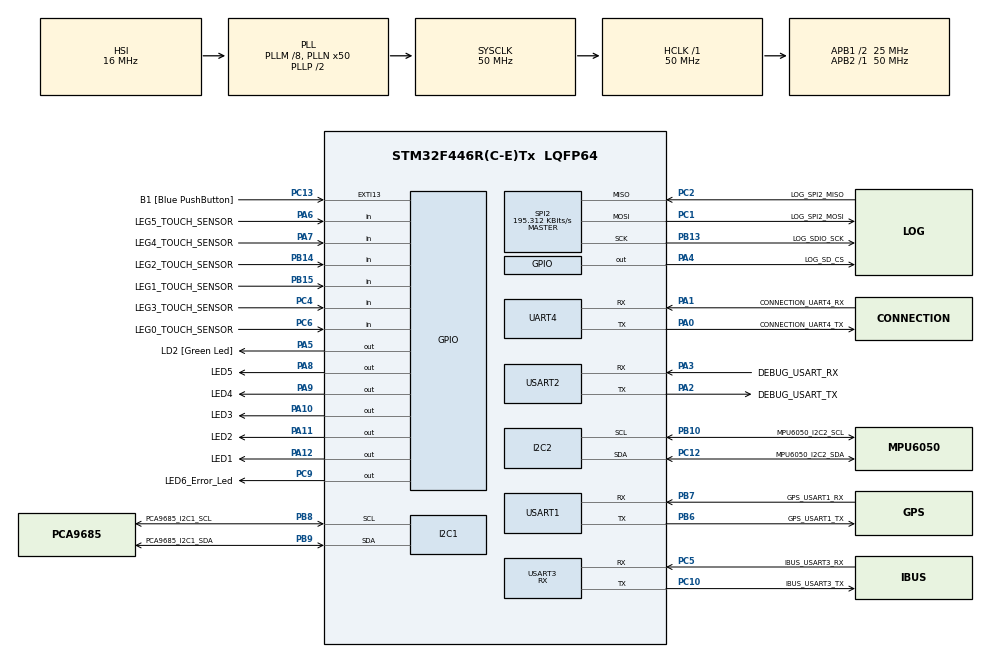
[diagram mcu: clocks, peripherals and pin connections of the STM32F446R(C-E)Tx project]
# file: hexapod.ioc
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Dma.Request0=USART3_RX
Dma.Request1=UART4_TX
Dma.Request2=USART1_RX
Dma.UART4_TX.1.Direction=DMA_MEMORY_TO_PERIPH
Dma.UART4_TX.1.FIFOMode=DMA_FIFOMODE_DISABLE
Dma.UART4_TX.1.Instance=DMA1_Stream4
Dma.UART4_TX.1.MemDataAlignment=DMA_MDATAALIGN_BYTE
Dma.UART4_TX.1.MemInc=DMA_MINC_ENABLE
Dma.UART4_TX.1.Mode=DMA_NORMAL
Dma.UART4_TX.1.PeriphDataAlignment=DMA_PDATAALIGN_BYTE
Dma.UART4_TX.1.PeriphInc=DMA_PINC_DISABLE
Dma.UART4_TX.1.Priority=DMA_PRIORITY_MEDIUM
Dma.USART1_RX.2.Direction=DMA_PERIPH_TO_MEMORY
Dma.USART1_RX.2.FIFOMode=DMA_FIFOMODE_DISABLE
Dma.USART1_RX.2.Instance=DMA2_Stream2
Dma.USART1_RX.2.MemDataAlignment=DMA_MDATAALIGN_BYTE
Dma.USART1_RX.2.MemInc=DMA_MINC_ENABLE
Dma.USART1_RX.2.Mode=DMA_CIRCULAR
Dma.USART1_RX.2.PeriphDataAlignment=DMA_PDATAALIGN_BYTE
Dma.USART1_RX.2.PeriphInc=DMA_PINC_DISABLE
Dma.USART1_RX.2.Priority=DMA_PRIORITY_MEDIUM
Dma.USART3_RX.0.Direction=DMA_PERIPH_TO_MEMORY
Dma.USART3_RX.0.FIFOMode=DMA_FIFOMODE_DISABLE
Dma.USART3_RX.0.Instance=DMA1_Stream1
Dma.USART3_RX.0.MemDataAlignment=DMA_MDATAALIGN_BYTE
Dma.USART3_RX.0.MemInc=DMA_MINC_ENABLE
Dma.USART3_RX.0.Mode=DMA_CIRCULAR
Dma.USART3_RX.0.PeriphDataAlignment=DMA_PDATAALIGN_BYTE
Dma.USART3_RX.0.PeriphInc=DMA_PINC_DISABLE
Dma.USART3_RX.0.Priority=DMA_PRIORITY_MEDIUM
FATFS._USE_MUTEX=1
FREERTOS.Mutexes01=uartMutex,Dynamic,NULL,Available
FREERTOS.Tasks01=defaultTask,24,128,StartDefaultTask,Default,NULL,Dynamic,NULL,NULL;IBusTask,24,128,StartIBusTask,Default,NULL,Dynamic,NULL,NULL;ServoTask,24,128,StartServoTask,Default,NULL,Dynamic,NULL,NULL;IMUTask,24,128,StartIMUTask,Default,NULL,Dynamic,NULL,NULL;LEDBlinkTask,8,128,StartLEDBlinkTask,Default,NULL,Dynamic,NULL,NULL;SDLogTask,24,256,StartSDLogTask,Default,NULL,Dynamic,NULL,NULL;debugPrintTask,16,1024,StartDebugPrintTask,Default,NULL,Dynamic,NULL,NULL;GPSTask,24,128,StartGPSTask,Default,NULL,Dynamic,NULL,NULL;Interface,24,128,StartInterface,Default,NULL,Dynamic,NULL,NULL;TouchSensor,24,128,StartTouchSensor,Default,NULL,Dynamic,NULL,NULL;WatchDogTask,8,128,StartWatchDogTask,Default,NULL,Dynamic,NULL,NULL
FREERTOS.configCHECK_FOR_STACK_OVERFLOW=2
FREERTOS.configENABLE_FPU=1
FREERTOS.configUSE_MALLOC_FAILED_HOOK=1
FREERTOS.configUSE_NEWLIB_REENTRANT=1
IWDG.Prescaler=IWDG_PRESCALER_32
IWDG.Reload=2047
Mcu.Family=STM32F4
Mcu.Name=STM32F446R(C-E)Tx
Mcu.Package=LQFP64
NVIC.DMA1_Stream1_IRQn=true\:5\:0\:false\:false\:true\:true\:false\:true\:true
NVIC.DMA1_Stream4_IRQn=true\:5\:0\:false\:false\:true\:true\:false\:true\:true
NVIC.DMA2_Stream2_IRQn=true\:5\:0\:false\:false\:true\:true\:false\:true\:true
NVIC.PriorityGroup=NVIC_PRIORITYGROUP_4
NVIC.TIM6_DAC_IRQn=true\:15\:0\:false\:false\:true\:false\:false\:true\:true
NVIC.TimeBase=TIM6_DAC_IRQn
NVIC.TimeBaseIP=TIM6
NVIC.UART4_IRQn=true\:5\:0\:false\:false\:true\:true\:true\:true\:true
NVIC.USART1_IRQn=true\:5\:0\:false\:false\:true\:true\:true\:true\:true
NVIC.USART3_IRQn=true\:5\:0\:false\:false\:true\:true\:true\:true\:true
PA0-WKUP.GPIO_Label=CONNECTION_UART4_TX
PA0-WKUP.Mode=Asynchronous
PA0-WKUP.Signal=UART4_TX
PA1.GPIO_Label=CONNECTION_UART4_RX
PA1.Mode=Asynchronous
PA1.Signal=UART4_RX
PA10.GPIO_Label=LED3
PA10.Signal=GPIO_Output
PA11.GPIO_Label=LED2
PA11.Signal=GPIO_Output
PA12.GPIO_Label=LED1
PA12.Signal=GPIO_Output
PA13.GPIO_Label=TMS
PA13.Mode=Serial_Wire
PA13.Signal=SYS_JTMS-SWDIO
PA14.GPIO_Label=TCK
PA14.Mode=Serial_Wire
PA14.Signal=SYS_JTCK-SWCLK
PA2.GPIO_Label=DEBUG_USART_TX
PA2.Mode=Asynchronous
PA2.Signal=USART2_TX
PA3.GPIO_Label=DEBUG_USART_RX
PA3.Mode=Asynchronous
PA3.Signal=USART2_RX
PA4.GPIO_Label=LOG_SD_CS
PA4.Signal=GPIO_Output
PA5.GPIO_Label=LD2 [Green Led]
PA5.Signal=GPIO_Output
PA6.GPIO_Label=LEG5_TOUCH_SENSOR
PA6.Signal=GPIO_Input
PA7.GPIO_Label=LEG4_TOUCH_SENSOR
PA7.Signal=GPIO_Input
PA8.GPIO_Label=LED5
PA8.Signal=GPIO_Output
PA9.GPIO_Label=LED4
PA9.Signal=GPIO_Output
PB10.GPIO_Label=MPU6050_I2C2_SCL
PB10.Mode=I2C
PB10.Signal=I2C2_SCL
PB13.GPIO_Label=LOG_SDIO_SCK
PB13.Mode=Full_Duplex_Master
PB13.Signal=SPI2_SCK
PB14.GPIO_Label=LEG2_TOUCH_SENSOR
PB14.Signal=GPIO_Input
PB15.GPIO_Label=LEG1_TOUCH_SENSOR
PB15.Signal=GPIO_Input
PB3.GPIO_Label=SWO
PB3.Signal=SYS_JTDO-SWO
PB6.GPIO_Label=GPS_USART1_TX
PB6.Mode=Asynchronous
PB6.Signal=USART1_TX
PB7.GPIO_Label=GPS_USART1_RX
PB7.Mode=Asynchronous
PB7.Signal=USART1_RX
PB8.GPIO_Label=PCA9685_I2C1_SCL
PB8.Mode=I2C
PB8.Signal=I2C1_SCL
PB9.GPIO_Label=PCA9685_I2C1_SDA
PB9.Mode=I2C
PB9.Signal=I2C1_SDA
PC1.GPIO_Label=LOG_SPI2_MOSI
PC1.Mode=Full_Duplex_Master
PC1.Signal=SPI2_MOSI
PC10.GPIO_Label=IBUS_USART3_TX
PC10.Mode=Asynchronous
PC10.Signal=USART3_TX
PC12.GPIO_Label=MPU6050_I2C2_SDA
PC12.Mode=I2C
PC12.Signal=I2C2_SDA
PC13.GPIO_Label=B1 [Blue PushButton]
PC13.GPIO_ModeDefaultEXTI=GPIO_MODE_IT_FALLING
PC13.Signal=GPXTI13
PC14-OSC32_IN.Mode=LSE-External-Oscillator
PC14-OSC32_IN.Signal=RCC_OSC32_IN
PC15-OSC32_OUT.Mode=LSE-External-Oscillator
PC15-OSC32_OUT.Signal=RCC_OSC32_OUT
PC2.GPIO_Label=LOG_SPI2_MISO
PC2.Mode=Full_Duplex_Master
PC2.Signal=SPI2_MISO
PC4.GPIO_Label=LEG3_TOUCH_SENSOR
PC4.Signal=GPIO_Input
PC5.GPIO_Label=IBUS_USART3_RX
PC5.Mode=Asynchronous
PC5.Signal=USART3_RX
PC6.GPIO_Label=LEG0_TOUCH_SENSOR
PC6.Signal=GPIO_Input
PC9.GPIO_Label=LED6_Error_Led
PC9.Signal=GPIO_Output
PH0-OSC_IN.Mode=HSE-External-Oscillator
PH0-OSC_IN.Signal=RCC_OSC_IN
PH1-OSC_OUT.Mode=HSE-External-Oscillator
PH1-OSC_OUT.Signal=RCC_OSC_OUT
ProjectManager.HeapSize=0x200
ProjectManager.StackSize=0x400
ProjectManager.TargetToolchain=STM32CubeIDE
RCC.48MHZClocksFreq_Value=84000000
RCC.AHBFreq_Value=50000000
RCC.APB1CLKDivider=RCC_HCLK_DIV2
RCC.APB1Freq_Value=25000000
RCC.APB1TimFreq_Value=50000000
RCC.APB2Freq_Value=50000000
RCC.APB2TimFreq_Value=50000000
RCC.CortexFreq_Value=50000000
RCC.FLatency-AdvancedSettings=FLASH_LATENCY_1
RCC.HCLKFreq_Value=50000000
RCC.HSE_VALUE=8000000
RCC.HSI_VALUE=16000000
RCC.PLLM=8
RCC.PLLN=50
RCC.PLLQ=3
RCC.SYSCLKFreq_VALUE=50000000
RCC.SYSCLKSource=RCC_SYSCLKSOURCE_PLLCLK
RCC.USBFreq_Value=33333333.333333332
RCC.VCOOutputFreq_Value=100000000
SPI2.BaudRatePrescaler=SPI_BAUDRATEPRESCALER_128
SPI2.CalculateBaudRate=195.312 KBits/s
SPI2.Direction=SPI_DIRECTION_2LINES
SPI2.Mode=SPI_MODE_MASTER
SPI2.VirtualType=VM_MASTER
UART4.VirtualMode=Asynchronous
USART1.VirtualMode=VM_ASYNC
USART2.VirtualMode=VM_ASYNC
USART3.Mode=MODE_RX
USART3.VirtualMode=VM_ASYNC
VP_FATFS_VS_Generic.Mode=User_defined
VP_FREERTOS_VS_CMSIS_V2.Mode=CMSIS_V2
VP_IWDG_VS_IWDG.Mode=IWDG_Activate
VP_SYS_VS_tim6.Mode=TIM6
board=NUCLEO-F446RE

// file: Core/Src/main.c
/* USER CODE BEGIN Header */
/**
  ******************************************************************************
  * @file           : main.c
  * @brief          : Main program body
  ******************************************************************************
  * @attention
  *
  * Copyright (c) 2025 STMicroelectronics.
  * All rights reserved.
  *
  * This software is licensed under terms that can be found in the LICENSE file
  * in the root directory of this software component.
  * If no LICENSE file comes with this software, it is provided AS-IS.
  *
  ******************************************************************************
  */
/* USER CODE END Header */
#include "main.h"
#include "cmsis_os.h"
#include "dma.h"
#include "fatfs.h"
#include "i2c.h"
#include "iwdg.h"
#include "spi.h"
#include "usart.h"
#include "gpio.h"

/* USER CODE BEGIN Includes */

#include "ibus.h"

/* USER CODE END Includes */

/* USER CODE BEGIN PD */

#define DEBUG_UART &huart2
/* USER CODE END PD */

/* USER CODE BEGIN PV */
extern osThreadId_t IBusTaskHandle;
extern IBUS_Handle_t ibus;
extern IBus_Data_t data;

/* USER CODE END PV */

void SystemClock_Config(void);
void MX_FREERTOS_Init(void);

/* USER CODE BEGIN 0 */
void HAL_UARTEx_RxEventCallback(UART_HandleTypeDef *huart, uint16_t Size)
{
  if(huart->Instance == USART3) {
    ibus.ready = 1;
    osThreadFlagsSet(IBusTaskHandle, 0x01);
  }
}
int __io_putchar(int ch)
{
    HAL_UART_Transmit(DEBUG_UART, (uint8_t *)&ch, 1, HAL_MAX_DELAY);
    return ch;
}
/* USER CODE END 0 */

int main(void)
{

  /* MCU Configuration--------------------------------------------------------*/

  /* Reset of all peripherals, Initializes the Flash interface and the Systick. */
  HAL_Init();

  /* Configure the system clock */
  SystemClock_Config();

  /* Initialize all configured peripherals */
  MX_GPIO_Init();
  MX_DMA_Init();
  MX_USART2_UART_Init();
  MX_I2C1_Init();
  MX_I2C2_Init();
  MX_SPI2_Init();
  MX_USART3_UART_Init();
  MX_FATFS_Init();
  MX_UART4_Init();
  MX_USART1_UART_Init();
  MX_IWDG_Init();

  /* Init scheduler */
  osKernelInitialize();  /* Call init function for freertos objects (in cmsis_os2.c) */
  MX_FREERTOS_Init();

  /* Start scheduler */
  osKernelStart();

  /* We should never get here as control is now taken by the scheduler */

  /* Infinite loop */
  while (1)
  {

  }
}

void SystemClock_Config(void)
{
  RCC_OscInitTypeDef RCC_OscInitStruct = {0};
  RCC_ClkInitTypeDef RCC_ClkInitStruct = {0};

  /** Configure the main internal regulator output voltage
  */
  __HAL_RCC_PWR_CLK_ENABLE();
  __HAL_PWR_VOLTAGESCALING_CONFIG(PWR_REGULATOR_VOLTAGE_SCALE3);

  /** Initializes the RCC Oscillators according to the specified parameters
  * in the RCC_OscInitTypeDef structure.
  */
  RCC_OscInitStruct.OscillatorType = RCC_OSCILLATORTYPE_HSI|RCC_OSCILLATORTYPE_LSI;
  RCC_OscInitStruct.HSIState = RCC_HSI_ON;
  RCC_OscInitStruct.HSICalibrationValue = RCC_HSICALIBRATION_DEFAULT;
  RCC_OscInitStruct.LSIState = RCC_LSI_ON;
  RCC_OscInitStruct.PLL.PLLState = RCC_PLL_ON;
  RCC_OscInitStruct.PLL.PLLSource = RCC_PLLSOURCE_HSI;
  RCC_OscInitStruct.PLL.PLLM = 8;
  RCC_OscInitStruct.PLL.PLLN = 50;
  RCC_OscInitStruct.PLL.PLLP = RCC_PLLP_DIV2;
  RCC_OscInitStruct.PLL.PLLQ = 3;
  RCC_OscInitStruct.PLL.PLLR = 2;
  if (HAL_RCC_OscConfig(&RCC_OscInitStruct) != HAL_OK)
  {
    Error_Handler();
  }

  /** Initializes the CPU, AHB and APB buses clocks
  */
  RCC_ClkInitStruct.ClockType = RCC_CLOCKTYPE_HCLK|RCC_CLOCKTYPE_SYSCLK
                              |RCC_CLOCKTYPE_PCLK1|RCC_CLOCKTYPE_PCLK2;
  RCC_ClkInitStruct.SYSCLKSource = RCC_SYSCLKSOURCE_PLLCLK;
  RCC_ClkInitStruct.AHBCLKDivider = RCC_SYSCLK_DIV1;
  RCC_ClkInitStruct.APB1CLKDivider = RCC_HCLK_DIV2;
  RCC_ClkInitStruct.APB2CLKDivider = RCC_HCLK_DIV1;

  if (HAL_RCC_ClockConfig(&RCC_ClkInitStruct, FLASH_LATENCY_1) != HAL_OK)
  {
    Error_Handler();
  }
}

void HAL_TIM_PeriodElapsedCallback(TIM_HandleTypeDef *htim)
{
  if (htim->Instance == TIM6)
  {
    HAL_IncTick();
  }
}

void Error_Handler(void)
{
  __disable_irq();
  while (1)
  {
  }
}

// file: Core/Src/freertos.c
/* USER CODE BEGIN Header */
/**
 ******************************************************************************
 * File Name          : freertos.c
 * Description        : Code for freertos applications
 ******************************************************************************
 * @attention
 *
 * Copyright (c) 2025 STMicroelectronics.
 * All rights reserved.
 *
 * This software is licensed under terms that can be found in the LICENSE file
 * in the root directory of this software component.
 * If no LICENSE file comes with this software, it is provided AS-IS.
 *
 ******************************************************************************
 */
/* USER CODE END Header */

#include "FreeRTOS.h"

#include "cmsis_os.h"
#include "main.h"
#include "task.h"

/* USER CODE BEGIN Includes */

#include <stdio.h>

#include "dma.h"
#include "fatfs.h"
#include "gpio.h"
#include "i2c.h"
#include "ibus.h"
#include "mpu6050.h"
#include "pca9685.h"
#include "spi.h"
#include "usart.h"

/* USER CODE END Includes */

/* USER CODE BEGIN PD */

#define DEBUG_UART &huart2
#define INCLUDE_vTaskDelete 1

/* USER CODE END PD */

/* USER CODE BEGIN Variables */

char logbuf[64];
IBUS_Handle_t ibus;
IBus_Data_t data;
MPU6050_Data_t mpu;
PCA9685_Handle_t pca;
PCA9685_Handle_t pca1;

FATFS fs;
FRESULT fr;
FIL file;
UINT bytes;

extern IWDG_HandleTypeDef hiwdg;

/* USER CODE END Variables */
/* Definitions for defaultTask */
osThreadId_t defaultTaskHandle;
const osThreadAttr_t defaultTask_attributes = {
    .name = "defaultTask",
    .stack_size = 128 * 4,
    .priority = (osPriority_t)osPriorityNormal,
};
/* Definitions for IBusTask */
osThreadId_t IBusTaskHandle;
const osThreadAttr_t IBusTask_attributes = {
    .name = "IBusTask",
    .stack_size = 128 * 4,
    .priority = (osPriority_t)osPriorityNormal,
};
/* Definitions for ServoTask */
osThreadId_t ServoTaskHandle;
const osThreadAttr_t ServoTask_attributes = {
    .name = "ServoTask",
    .stack_size = 128 * 4,
    .priority = (osPriority_t)osPriorityNormal,
};
/* Definitions for IMUTask */
osThreadId_t IMUTaskHandle;
const osThreadAttr_t IMUTask_attributes = {
    .name = "IMUTask",
    .stack_size = 128 * 4,
    .priority = (osPriority_t)osPriorityNormal,
};
/* Definitions for LEDBlinkTask */
osThreadId_t LEDBlinkTaskHandle;
const osThreadAttr_t LEDBlinkTask_attributes = {
    .name = "LEDBlinkTask",
    .stack_size = 128 * 4,
    .priority = (osPriority_t)osPriorityLow,
};
/* Definitions for SDLogTask */
osThreadId_t SDLogTaskHandle;
const osThreadAttr_t SDLogTask_attributes = {
    .name = "SDLogTask",
    .stack_size = 256 * 4,
    .priority = (osPriority_t)osPriorityNormal,
};
/* Definitions for debugPrintTask */
osThreadId_t debugPrintTaskHandle;
const osThreadAttr_t debugPrintTask_attributes = {
    .name = "debugPrintTask",
    .stack_size = 1024 * 4,
    .priority = (osPriority_t)osPriorityBelowNormal,
};
/* Definitions for GPSTask */
osThreadId_t GPSTaskHandle;
const osThreadAttr_t GPSTask_attributes = {
    .name = "GPSTask",
    .stack_size = 128 * 4,
    .priority = (osPriority_t)osPriorityNormal,
};
/* Definitions for Interface */
osThreadId_t InterfaceHandle;
const osThreadAttr_t Interface_attributes = {
    .name = "Interface",
    .stack_size = 128 * 4,
    .priority = (osPriority_t)osPriorityNormal,
};
/* Definitions for TouchSensor */
osThreadId_t TouchSensorHandle;
const osThreadAttr_t TouchSensor_attributes = {
    .name = "TouchSensor",
    .stack_size = 128 * 4,
    .priority = (osPriority_t)osPriorityNormal,
};
/* Definitions for WatchDogTask */
osThreadId_t WatchDogTaskHandle;
const osThreadAttr_t WatchDogTask_attributes = {
    .name = "WatchDogTask",
    .stack_size = 128 * 4,
    .priority = (osPriority_t)osPriorityLow,
};
/* Definitions for uartMutex */
osMutexId_t uartMutexHandle;
const osMutexAttr_t uartMutex_attributes = {.name = "uartMutex"};

void StartDefaultTask(void* argument);
void StartIBusTask(void* argument);
void StartServoTask(void* argument);
void StartIMUTask(void* argument);
void StartLEDBlinkTask(void* argument);
void StartSDLogTask(void* argument);
void StartDebugPrintTask(void* argument);
void StartGPSTask(void* argument);
void StartInterface(void* argument);
void StartTouchSensor(void* argument);
void StartWatchDogTask(void* argument);

void MX_FREERTOS_Init(void); /* (MISRA C 2004 rule 8.1) */

/* Hook prototypes */
void vApplicationStackOverflowHook(xTaskHandle xTask, signed char* pcTaskName);
void vApplicationMallocFailedHook(void);

/* USER CODE BEGIN 4 */
void vApplicationStackOverflowHook(xTaskHandle xTask, signed char* pcTaskName) {
  /* Run time stack overflow checking is performed if
  configCHECK_FOR_STACK_OVERFLOW is defined to 1 or 2. This hook function is
  called if a stack overflow is detected. */

  taskDISABLE_INTERRUPTS();
  for (;;) {
    HAL_GPIO_TogglePin(GPIOC, GPIO_PIN_9);
    osDelay(100);
  }
}
/* USER CODE END 4 */

/* USER CODE BEGIN 5 */
void vApplicationMallocFailedHook(void) {
  /* vApplicationMallocFailedHook() will only be called if
  configUSE_MALLOC_FAILED_HOOK is set to 1 in FreeRTOSConfig.h. It is a hook
  function that will get called if a call to pvPortMalloc() fails.
  pvPortMalloc() is called internally by the kernel whenever a task, queue,
  timer or semaphore is created. It is also called by various parts of the
  demo application. If heap_1.c or heap_2.c are used, then the size of the
  heap available to pvPortMalloc() is defined by configTOTAL_HEAP_SIZE in
  FreeRTOSConfig.h, and the xPortGetFreeHeapSize() API function can be used
  to query the size of free heap space that remains (although it does not
  provide information on how the remaining heap might be fragmented). */

  taskDISABLE_INTERRUPTS();
  for (;;) {
    HAL_GPIO_TogglePin(GPIOC, GPIO_PIN_9);
    osDelay(100);
  }
}
/* USER CODE END 5 */

void MX_FREERTOS_Init(void) {
  /* Create the mutex(es) */
  /* creation of uartMutex */
  uartMutexHandle = osMutexNew(&uartMutex_attributes);

  /* Create the thread(s) */
  /* creation of defaultTask */
  defaultTaskHandle =
      osThreadNew(StartDefaultTask, NULL, &defaultTask_attributes);

  /* creation of IBusTask */
  IBusTaskHandle = osThreadNew(StartIBusTask, NULL, &IBusTask_attributes);

  /* creation of ServoTask */
  ServoTaskHandle = osThreadNew(StartServoTask, NULL, &ServoTask_attributes);

  /* creation of IMUTask */
  IMUTaskHandle = osThreadNew(StartIMUTask, NULL, &IMUTask_attributes);

  /* creation of LEDBlinkTask */
  LEDBlinkTaskHandle =
      osThreadNew(StartLEDBlinkTask, NULL, &LEDBlinkTask_attributes);

  /* creation of SDLogTask */
  SDLogTaskHandle = osThreadNew(StartSDLogTask, NULL, &SDLogTask_attributes);

  /* creation of debugPrintTask */
  debugPrintTaskHandle =
      osThreadNew(StartDebugPrintTask, NULL, &debugPrintTask_attributes);

  /* creation of GPSTask */
  GPSTaskHandle = osThreadNew(StartGPSTask, NULL, &GPSTask_attributes);

  /* creation of Interface */
  InterfaceHandle = osThreadNew(StartInterface, NULL, &Interface_attributes);

  /* creation of TouchSensor */
  TouchSensorHandle =
      osThreadNew(StartTouchSensor, NULL, &TouchSensor_attributes);

  /* creation of WatchDogTask */
  WatchDogTaskHandle =
      osThreadNew(StartWatchDogTask, NULL, &WatchDogTask_attributes);

}

void StartDefaultTask(void* argument) {
  /* USER CODE BEGIN StartDefaultTask */
  /* Infinite loop */
  for (;;) {
    pca.hi2c = &hi2c1;
    pca.addr = (0x40 << 1);
    pca1.hi2c = &hi2c1;
    pca1.addr = ((0x40 + 1) << 1);
    IBUS_Init(&ibus, &huart3, &data);
    MPU6050_Init(&hi2c2);
    PCA9685_Init(&pca);
    PCA9685_Init(&pca1);
    vTaskDelete(NULL);
    osDelay(1);
  }
  /* USER CODE END StartDefaultTask */
}

void StartIBusTask(void* argument) {
  /* USER CODE BEGIN StartIBusTask */
  /* Infinite loop */
  for (;;) {
    osThreadFlagsWait(0x01, osFlagsWaitAny, osWaitForever);
    osMutexAcquire(uartMutexHandle, osWaitForever);
    if (ibus.ready) {
      IBUS_Parse(&ibus);
    }
    osMutexRelease(uartMutexHandle);
    HAL_UARTEx_ReceiveToIdle_DMA(&huart3, ibus.buffer, IBUS_SIZE);
  }
  /* USER CODE END StartIBusTask */
}

void StartServoTask(void* argument) {
  /* USER CODE BEGIN StartServoTask */
  /* Infinite loop */
  for (;;) {
    // int degree = (ibus.data->left_vertical - 1000) * 180.0f / 1000.0f;;
    PCA9685_SetServoAngle(&pca, 0, 30);
    PCA9685_SetServoAngle(&pca, 1, 30);
    PCA9685_SetServoAngle(&pca, 2, 30);

    osDelay(1000);

    PCA9685_SetServoAngle(&pca, 0, -30);
    PCA9685_SetServoAngle(&pca, 1, -30);
    PCA9685_SetServoAngle(&pca, 2, -30);

    osDelay(1000);
  }
  /* USER CODE END StartServoTask */
}

void StartIMUTask(void* argument) {
  /* USER CODE BEGIN StartIMUTask */
  /* Infinite loop */
  for (;;) {
    MPU6050_ReadAll(&hi2c2, &mpu);
    osDelay(500);
  }
  /* USER CODE END StartIMUTask */
}

void StartLEDBlinkTask(void* argument) {
  /* USER CODE BEGIN StartLEDBlinkTask */
  /* Infinite loop */
  for (;;) {
    HAL_GPIO_TogglePin(GPIOA, GPIO_PIN_5);
    osDelay(1000);
  }
  /* USER CODE END StartLEDBlinkTask */
}

void StartSDLogTask(void* argument) {
  /* USER CODE BEGIN StartSDLogTask */
  fr = f_mount(&fs, "0:", 1);
  if (fr != FR_OK) {
    for (;;);
  }

  fr = f_open(&file, "0:/log.txt", FA_WRITE | FA_OPEN_APPEND | FA_OPEN_ALWAYS);
  if (fr != FR_OK) {
    for (;;);
  }

  // ---- Seek to end ----
  f_lseek(&file, f_size(&file));

  /* Infinite loop */
  for (;;) {
    int len = snprintf(logbuf, sizeof(logbuf), "Logging something...\r\n");

    fr = f_write(&file, logbuf, len, &bytes);
    if (fr != FR_OK || bytes != len) {
      for (;;);
    }

    f_sync(&file);

    osDelay(1000);
  }
  /* USER CODE END StartSDLogTask */
}

void StartDebugPrintTask(void* argument) {
  /* USER CODE BEGIN StartDebugPrintTask */
  /* Infinite loop */
  for (;;) {
    printf("System is working...");
    osDelay(1000);
  }
  /* USER CODE END StartDebugPrintTask */
}

void StartGPSTask(void* argument) {
  for (;;) {
    osDelay(1);
  }
}

void StartInterface(void* argument) {
  for (;;) {
    osDelay(1);
  }
}

void StartTouchSensor(void* argument) {
  for (;;) {
    osDelay(1);
  }
}

void StartWatchDogTask(void* argument) {
  /* USER CODE BEGIN StartWatchDogTask */
  /* Infinite loop */
  for (;;) {
    HAL_IWDG_Refresh(&hiwdg);
    osDelay(200);
  }
  /* USER CODE END StartWatchDogTask */
}
